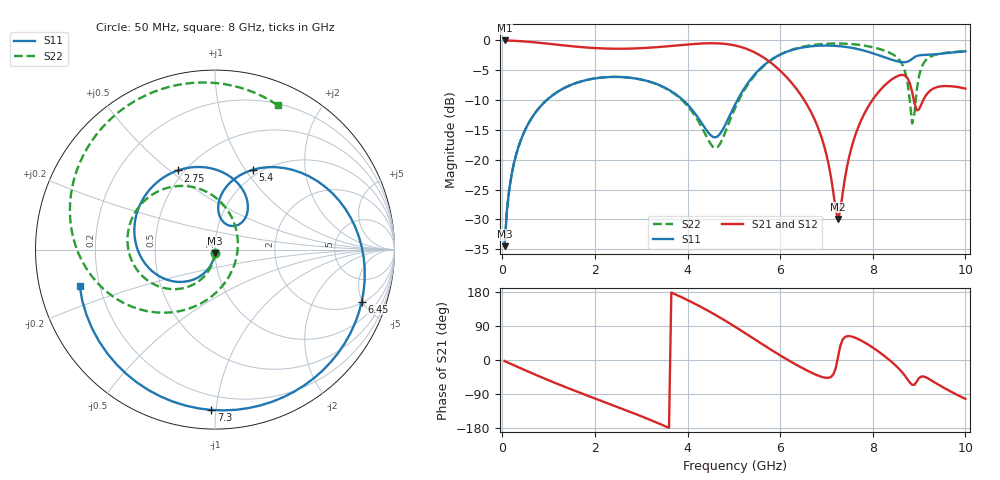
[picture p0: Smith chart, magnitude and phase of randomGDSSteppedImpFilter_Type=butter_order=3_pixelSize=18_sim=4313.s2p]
! freq	dB(S11)	phase(S11)	dB(S12)	phase(S12)
!  dB(S21)	phase(S21)	dB(S22)	phase(S22)
!S-par simulation data
#  GHz  S  DB  R 50
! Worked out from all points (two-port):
!   200 points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, 50 MHz to 10 GHz, reference 50 ohm
!   highest |S21| = 0.00 dB at 50 MHz (marker M1); lowest = -29.9 dB at 7.25 GHz (marker M2)
!   |S21| within 3 dB of the highest: start of sweep to 5.669 GHz
!   lowest |S11| = -34.5 dB at 50 MHz (marker M3), VSWR 1.04, Z = 49.9 - j1.88 ohm
!   |S11| at or under -10 dB: start of sweep to 958.9 MHz; 3.902 GHz to 5.078 GHz (1.176 GHz wide, 26.2 % of centre)
!   |S22| runs from -34.4 to -0.5 dB; largest |S21 - S12| = 0
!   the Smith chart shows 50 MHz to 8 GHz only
!   S11 on the Smith chart (normalised r, x): 50 MHz: 1.00, -0.04; 2.75 GHz: 0.46, +0.53; 5.4 GHz: 0.92, +1.08; 6.45 GHz: 2.10, -4.94; 7.3 GHz: 0.11, -0.97; 8 GHz: 0.13, -0.13
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0.05  -34.47 -93.1  -0.00 -2.8  -0.00 -2.8  -34.42 -92.4
0.2  -22.53 -102.7  -0.04 -11.1  -0.04 -11.1  -22.53 -100.2
0.5  -14.89 -121.0  -0.18 -27.4  -0.18 -27.4  -14.88 -114.7
1.75  -6.77 168.3  -1.15 -89.8  -1.15 -89.8  -6.76 -169.1
2.75  -6.25 115.1  -1.37 -136.4  -1.37 -136.4  -6.25 151.4
3.4  -7.52 80.1  -1.09 -168.5  -1.09 -168.5  -7.56 122.9
4.6  -16.23 64.9  -0.48 119.2  -0.48 119.2  -18.03 -7.1
5.05  -10.41 83.8  -0.89 86.0  -0.89 86.0  -10.94 -99.2
5.4  -6.16 64.7  -1.82 58.6  -1.82 58.6  -6.35 -133.4
5.85  -3.02 29.7  -4.05 23.4  -4.05 23.4  -3.05 -168.0
6.45  -1.23 -19.5  -9.17 -19.3  -9.17 -19.3  -1.12 153.2
6.7  -0.96 -40.0  -12.52 -34.8  -12.52 -34.8  -0.77 138.7
7.25  -0.94 -86.8  -29.94 7.8  -29.94 7.8  -0.51 108.5
7.3  -0.98 -91.4  -28.43 37.6  -28.43 37.6  -0.52 105.8
8  -2.15 -165.1  -9.91 32.8  -9.91 32.8  -1.14 66.5
8.35  -3.09 148.7  -6.89 1.0  -6.89 1.0  -2.01 42.5
8.65  -3.65 107.6  -5.77 -34.7  -5.77 -34.7  -4.23 4.5
8.8  -3.38 89.3  -7.17 -59.3  -7.17 -59.3  -10.08 -53.0
8.85  -3.10 82.7  -8.63 -65.4  -8.63 -65.4  -13.93 -107.1
8.95  -2.60 67.7  -11.72 -56.8  -11.72 -56.8  -8.31 141.2
9.2  -2.41 33.7  -8.69 -49.1  -8.69 -49.1  -2.93 75.2
10  -1.82 -35.4  -8.07 -102.5  -8.07 -102.5  -1.79 17.8
